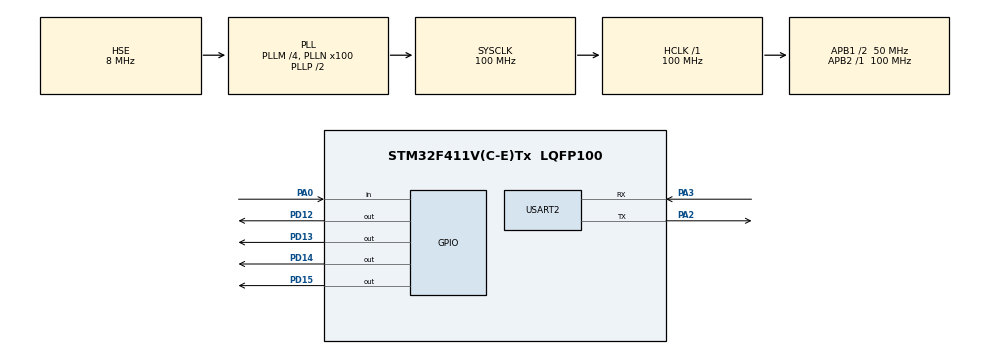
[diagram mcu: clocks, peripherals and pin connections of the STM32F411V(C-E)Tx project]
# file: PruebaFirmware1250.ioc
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FREERTOS.Tasks01=defaultTask,24,128,StartDefaultTask,Default,NULL
Mcu.Family=STM32F4
Mcu.Name=STM32F411V(C-E)Tx
Mcu.Package=LQFP100
NVIC.PriorityGroup=NVIC_PRIORITYGROUP_4
NVIC.TIM1_UP_TIM10_IRQn=true\:0\:0\:false\:false\:true\:false\:false\:true
NVIC.TimeBase=TIM1_UP_TIM10_IRQn
NVIC.TimeBaseIP=TIM1
PA0-WKUP.Signal=GPIO_Input
PA13.Mode=Serial_Wire
PA13.Signal=SYS_JTMS-SWDIO
PA14.Mode=Serial_Wire
PA14.Signal=SYS_JTCK-SWCLK
PA2.Mode=Asynchronous
PA2.Signal=USART2_TX
PA3.Mode=Asynchronous
PA3.Signal=USART2_RX
PD12.Signal=GPIO_Output
PD13.Signal=GPIO_Output
PD14.Signal=GPIO_Output
PD15.Signal=GPIO_Output
PH0\ -\ OSC_IN.Mode=HSE-External-Oscillator
PH0\ -\ OSC_IN.Signal=RCC_OSC_IN
PH1\ -\ OSC_OUT.Mode=HSE-External-Oscillator
PH1\ -\ OSC_OUT.Signal=RCC_OSC_OUT
ProjectManager.HeapSize=0x200
ProjectManager.StackSize=0x400
ProjectManager.TargetToolchain=STM32CubeIDE
RCC.48MHZClocksFreq_Value=50000000
RCC.AHBFreq_Value=100000000
RCC.APB1CLKDivider=RCC_HCLK_DIV2
RCC.APB1Freq_Value=50000000
RCC.APB1TimFreq_Value=100000000
RCC.APB2Freq_Value=100000000
RCC.APB2TimFreq_Value=100000000
RCC.CortexFreq_Value=100000000
RCC.HCLKFreq_Value=100000000
RCC.HSE_VALUE=8000000
RCC.HSI_VALUE=16000000
RCC.LSE_VALUE=32768
RCC.PLLM=4
RCC.PLLN=100
RCC.PLLSourceVirtual=RCC_PLLSOURCE_HSE
RCC.SYSCLKFreq_VALUE=100000000
RCC.SYSCLKSource=RCC_SYSCLKSOURCE_PLLCLK
RCC.VCOOutputFreq_Value=200000000
USART2.VirtualMode=VM_ASYNC
VP_FREERTOS_VS_CMSIS_V2.Mode=CMSIS_V2
VP_SYS_VS_tim1.Mode=TIM1
board=custom

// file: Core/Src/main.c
/* USER CODE BEGIN Header */
/**
  ******************************************************************************
  * @file           : main.c
  * @brief          : Main program body
  ******************************************************************************
  * @attention
  *
  * <h2><center>&copy; Copyright (c) 2019 STMicroelectronics.
  * All rights reserved.</center></h2>
  *
  * This software component is licensed by ST under BSD 3-Clause license,
  * the "License"; You may not use this file except in compliance with the
  * License. You may obtain a copy of the License at:
  *                        opensource.org/licenses/BSD-3-Clause
  *

  https://www.keil.com/pack/doc/cmsis/RTOS2/html/group__CMSIS__RTOS__SemaphoreMgmt.html#details

  Los semáforos se utilizan para administrar y proteger el acceso a los recursos
  compartidos. Los semáforos son muy similares a los mutexes. Mientras que un
  Mutex permite que solo un subproceso acceda a un recurso compartido a la vez,
  se puede utilizar un semáforo para permitir que un número fijo de subprocesos
  / ISR acceda a un grupo de recursos compartidos. Usando semáforos, se puede
  administrar el acceso a un grupo de periféricos idénticos
  (por ejemplo, múltiples canales DMA).
  ******************************************************************************
  */
/* USER CODE END Header */

#include "main.h"
#include "cmsis_os.h"

/* USER CODE BEGIN Includes */
#include "stdio.h"
/* USER CODE END Includes */

/* USER CODE BEGIN PD */
#define BUFFER_SIZE 10U
/* USER CODE END PD */

UART_HandleTypeDef huart2;

osSemaphoreId_t sid_Semaphore;                  // semaphore id

osThreadId_t tid_Thread_Semaphore;              // thread id

void SystemClock_Config(void);
static void MX_GPIO_Init(void);
static void MX_USART2_UART_Init(void);
void StartDefaultTask(void *argument);

/* USER CODE BEGIN PFP */
/* Definitions for defaultTask */
osThreadId_t defaultTaskHandle;
const osThreadAttr_t defaultTask_attributes = {
  .name = "defaultTask",
  .priority = (osPriority_t) osPriorityNormal,
  .stack_size = 128 * 4
};

/* USER CODE END PFP */

/* USER CODE BEGIN 0 */

int _write(int file, char *ptr, int len) {
	int i = 0;
	for (i = 0; i < len; i++)
		ITM_SendChar((*ptr++));
	return len;
}

/* USER CODE END 0 */

int main(void)
{

  /* MCU Configuration--------------------------------------------------------*/

  /* Reset of all peripherals, Initializes the Flash interface and the Systick. */
  HAL_Init();

  /* Configure the system clock */
  SystemClock_Config();

  /* Initialize all configured peripherals */
  MX_GPIO_Init();
  MX_USART2_UART_Init();

  osKernelInitialize();

  /* USER CODE BEGIN RTOS_MUTEX */
  /* add mutexes, ... */
  //The Mutex Management function group is used to synchronize the execution of threads.
  //This is for example used to protect access to a shared resource, for example a shared memory image.

  /* USER CODE END RTOS_MUTEX */

  /* USER CODE BEGIN RTOS_SEMAPHORES */
  /* add semaphores, ... */

  //Init_Semaphore();

  /* USER CODE END RTOS_SEMAPHORES */

  /* Create the thread(s) */
  /* definition and creation of defaultTask */

  /* USER CODE BEGIN RTOS_THREADS */
  defaultTaskHandle = osThreadNew(StartDefaultTask, NULL, &defaultTask_attributes);

    char txData[50]= "";;
    sprintf(txData, "%s", "inicio\r\n");
    HAL_UART_Transmit(&huart2, (uint8_t *) txData, strlen(txData),1000);

    printf("Iniciando\r\n");//simepre tiene que estar un primer printf para que funcione bien
    printf("Espere...\r\n");

  /* add threads, ... */
  /* USER CODE END RTOS_THREADS */

  /* Start scheduler */
  osKernelStart();

  /* We should never get here as control is now taken by the scheduler */

  /* Infinite loop */
  while (1)
  {

  }
}

void SystemClock_Config(void)
{
  RCC_OscInitTypeDef RCC_OscInitStruct = {0};
  RCC_ClkInitTypeDef RCC_ClkInitStruct = {0};

  /** Configure the main internal regulator output voltage
  */
  __HAL_RCC_PWR_CLK_ENABLE();
  __HAL_PWR_VOLTAGESCALING_CONFIG(PWR_REGULATOR_VOLTAGE_SCALE1);
  /** Initializes the CPU, AHB and APB busses clocks
  */
  RCC_OscInitStruct.OscillatorType = RCC_OSCILLATORTYPE_HSE;
  RCC_OscInitStruct.HSEState = RCC_HSE_ON;
  RCC_OscInitStruct.PLL.PLLState = RCC_PLL_ON;
  RCC_OscInitStruct.PLL.PLLSource = RCC_PLLSOURCE_HSE;
  RCC_OscInitStruct.PLL.PLLM = 4;
  RCC_OscInitStruct.PLL.PLLN = 100;
  RCC_OscInitStruct.PLL.PLLP = RCC_PLLP_DIV2;
  RCC_OscInitStruct.PLL.PLLQ = 4;
  if (HAL_RCC_OscConfig(&RCC_OscInitStruct) != HAL_OK)
  {
    Error_Handler();
  }
  /** Initializes the CPU, AHB and APB busses clocks
  */
  RCC_ClkInitStruct.ClockType = RCC_CLOCKTYPE_HCLK|RCC_CLOCKTYPE_SYSCLK
                              |RCC_CLOCKTYPE_PCLK1|RCC_CLOCKTYPE_PCLK2;
  RCC_ClkInitStruct.SYSCLKSource = RCC_SYSCLKSOURCE_PLLCLK;
  RCC_ClkInitStruct.AHBCLKDivider = RCC_SYSCLK_DIV1;
  RCC_ClkInitStruct.APB1CLKDivider = RCC_HCLK_DIV2;
  RCC_ClkInitStruct.APB2CLKDivider = RCC_HCLK_DIV1;

  if (HAL_RCC_ClockConfig(&RCC_ClkInitStruct, FLASH_LATENCY_3) != HAL_OK)
  {
    Error_Handler();
  }
}

static void MX_USART2_UART_Init(void)
{

  huart2.Instance = USART2;
  huart2.Init.BaudRate = 115200;
  huart2.Init.WordLength = UART_WORDLENGTH_8B;
  huart2.Init.StopBits = UART_STOPBITS_1;
  huart2.Init.Parity = UART_PARITY_NONE;
  huart2.Init.Mode = UART_MODE_TX_RX;
  huart2.Init.HwFlowCtl = UART_HWCONTROL_NONE;
  huart2.Init.OverSampling = UART_OVERSAMPLING_16;
  if (HAL_UART_Init(&huart2) != HAL_OK)
  {
    Error_Handler();
  }

}

static void MX_GPIO_Init(void)
{
  GPIO_InitTypeDef GPIO_InitStruct = {0};

  /* GPIO Ports Clock Enable */
  __HAL_RCC_GPIOH_CLK_ENABLE();
  __HAL_RCC_GPIOA_CLK_ENABLE();
  __HAL_RCC_GPIOD_CLK_ENABLE();

  /*Configure GPIO pin Output Level */
  HAL_GPIO_WritePin(GPIOD, GPIO_PIN_12|GPIO_PIN_13|GPIO_PIN_14|GPIO_PIN_15, GPIO_PIN_RESET);

  /*Configure GPIO pin : PA0 */
  GPIO_InitStruct.Pin = GPIO_PIN_0;
  GPIO_InitStruct.Mode = GPIO_MODE_INPUT;
  GPIO_InitStruct.Pull = GPIO_NOPULL;
  HAL_GPIO_Init(GPIOA, &GPIO_InitStruct);

  /*Configure GPIO pins : PD12 PD13 PD14 PD15 */
  GPIO_InitStruct.Pin = GPIO_PIN_12|GPIO_PIN_13|GPIO_PIN_14|GPIO_PIN_15;
  GPIO_InitStruct.Mode = GPIO_MODE_OUTPUT_PP;
  GPIO_InitStruct.Pull = GPIO_NOPULL;
  GPIO_InitStruct.Speed = GPIO_SPEED_FREQ_LOW;
  HAL_GPIO_Init(GPIOD, &GPIO_InitStruct);

}

/* USER CODE BEGIN 4 */

void StartDefaultTask(void *argument)
{
  /* USER CODE BEGIN 5 */
  /* Infinite loop */
  for(;;)
  {
	  HAL_GPIO_TogglePin(GPIOD, GPIO_PIN_13);
	  // HAL_GPIO_TogglePin(GPIOD, GPIO_PIN_12);
	  osDelay(100);
  }
  /* USER CODE END 5 */
}

/* USER CODE END 4 */

void HAL_TIM_PeriodElapsedCallback(TIM_HandleTypeDef *htim)
{
  if (htim->Instance == TIM1) {
    HAL_IncTick();
  }
}

void Error_Handler(void)
{
}

/************************ (C) COPYRIGHT STMicroelectronics *****END OF FILE****/
